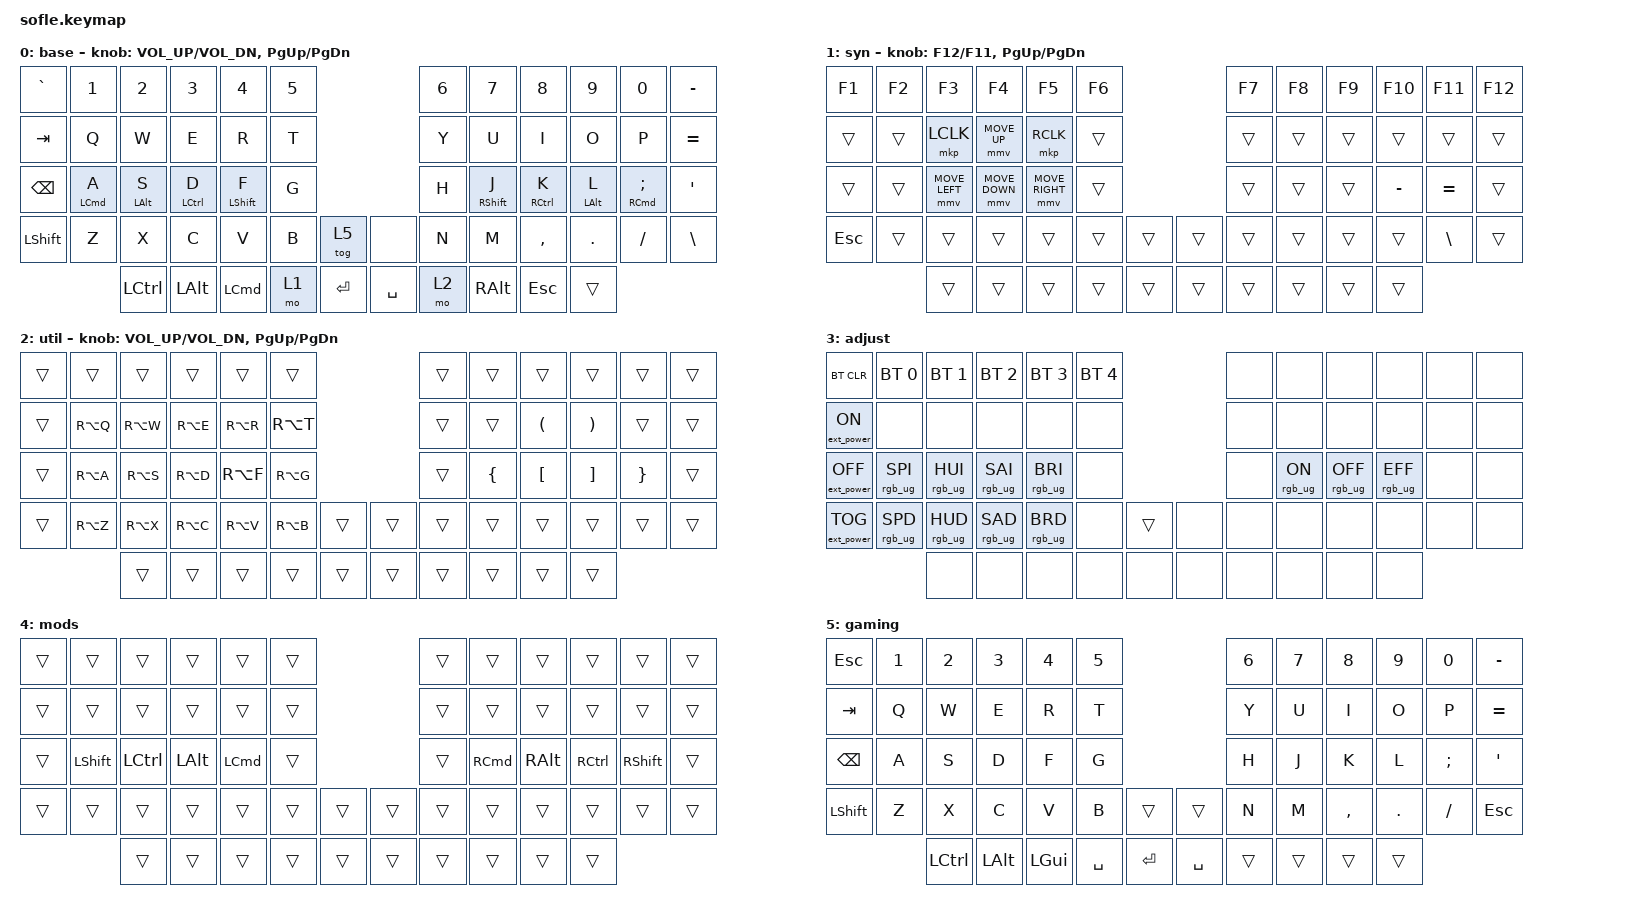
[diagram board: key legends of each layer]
/*
 * Copyright (c) 2020 The ZMK Contributors
 *
 * SPDX-License-Identifier: MIT
 */

#include <behaviors.dtsi>
#include <dt-bindings/zmk/bt.h>
#include <dt-bindings/zmk/ext_power.h>
#include <dt-bindings/zmk/keys.h>
#include <dt-bindings/zmk/pointing.h>
#include <dt-bindings/zmk/rgb.h>

#define BASE 0
#define LOWER 1
#define RAISE 2
#define ADJUST 3

&mt {
    flavor = "tap-preferred";
    require-prior-idle-ms = <100>;
    quick-tap-ms = <200>;
    tapping-term-ms = <150>;
};

/ {
    // Activate ADJUST layer by pressing raise and lower

    conditional_layers {
        compatible = "zmk,conditional-layers";

        adjust_layer {
            if-layers = <1 2>;
            then-layer = <3>;
        };
    };

    combos {
        compatible = "zmk,combos";

        jk_to_esc {
            bindings = <&kp ESCAPE>;
            key-positions = <31 32>;
            require-prior-idle-ms = <0>;
            layers = <0>;
            timeout-ms = <25>;
        };
    };

    keymap {
        compatible = "zmk,keymap";

        base {
            display-name = "base";

            // ------------------------------------------------------------------------------------------------------------
            // |   `   |  1  |  2  |  3   |  4   |  5   |                   |  6   |  7    |  8    |  9   |   0   |       |
            // |  ESC  |  Q  |  W  |  E   |  R   |  T   |                   |  Y   |  U    |  I    |  O   |   P   | BKSPC |
            // |  TAB  |  A  |  S  |  D   |  F   |  G   |                   |  H   |  J    |  K    |  L   |   ;   |   '   |
            // | SHIFT |  Z  |  X  |  C   |  V   |  B   |  MUTE  |  |       |  N   |  M    |  ,    |  .   |   /   | SHIFT |
            //               | GUI | ALT  | CTRL | LOWER|  ENTER |  | SPACE | RAISE| CTRL  | ALT   | GUI  |

            bindings = <
&kp GRAVE      &kp N1              &kp N2          &kp N3              &kp N4            &kp N5                          &kp N6  &kp N7             &kp N8               &kp N9          &kp N0                  &kp MINUS
&kp TAB        &kp Q               &kp W           &kp E               &kp R             &kp T                           &kp Y   &kp U              &kp I                &kp O           &kp P                   &kp EQUAL
&kp BACKSPACE  &mt LEFT_COMMAND A  &mt LEFT_ALT S  &mt LEFT_CONTROL D  &mt LEFT_SHIFT F  &kp G                           &kp H   &mt RIGHT_SHIFT J  &mt RIGHT_CONTROL K  &mt LEFT_ALT L  &mt RIGHT_COMMAND SEMI  &kp SQT
&kp LSHFT      &kp Z               &kp X           &kp C               &kp V             &kp B   &tog 5       &none      &kp N   &kp M              &kp COMMA            &kp DOT         &kp FSLH                &kp BACKSLASH
                                   &kp LCTRL       &kp LALT            &kp LEFT_COMMAND  &mo 1   &kp ENTER    &kp SPACE  &mo 2   &kp RIGHT_ALT      &kp ESCAPE           &trans
            >;

            sensor-bindings = <&inc_dec_kp C_VOL_UP C_VOL_DN &inc_dec_kp PG_UP PG_DN>;
        };

        sym {
            display-name = "syn";

            // TODO: Some binds are waiting for shifted keycode support.
            // ------------------------------------------------------------------------------------------------------------
            // |       |  F1 |  F2 |  F3  |  F4  |  F5  |                   |  F6  |  F7   |  F8   |  F9  |  F10  |  F11  |
            // |   `   |  1  |  2  |  3   |  4   |  5   |                   |  6   |  7    |  8    |  9   |   0   |  F12  |
            // |       |  !  |  @  |  #   |  $   |  %   |                   |  ^   |  &    |  *    |  (   |   )   |   |   |
            // |       |  =  |  -  |  +   |  {   |  }   |        |  |       |  [   |  ]    |  ;    |  :   |   \   |       |
            //               |     |      |      |      |        |  |       |      |       |       |      |

            bindings = <
&kp F1      &kp F2  &kp F3          &kp F4          &kp F5           &kp F6                    &kp F7  &kp F8  &kp F9  &kp F10    &kp F11    &kp F12
&trans      &trans  &mkp LCLK       &mmv MOVE_UP    &mkp RCLK        &trans                    &trans  &trans  &trans  &trans     &trans     &trans
&trans      &trans  &mmv MOVE_LEFT  &mmv MOVE_DOWN  &mmv MOVE_RIGHT  &trans                    &trans  &trans  &trans  &kp MINUS  &kp EQUAL  &trans
&kp ESCAPE  &trans  &trans          &trans          &trans           &trans  &trans    &trans  &trans  &trans  &trans  &trans     &kp BSLH   &trans
                    &trans          &trans          &trans           &trans  &trans    &trans  &trans  &trans  &trans  &trans
            >;

            sensor-bindings = <&inc_dec_kp F12 F11>, <&inc_dec_kp PG_UP PG_DN>;
        };

        util {
            display-name = "util";

            // ------------------------------------------------------------------------------------------------------------
            // | BTCLR | BT1  | BT2  |  BT3  |  BT4  |  BT5 |                |      |      |       |      |       |       |
            // |       | INS  | PSCR | GUI   |       |      |                | PGUP |      |   ^   |      |       |       |
            // |       | ALT  | CTRL | SHIFT |       | CAPS |                | PGDN |   <- |   v   |  ->  |  DEL  | BKSPC |
            // |       | UNDO | CUT  | COPY  | PASTE |      |      |  |      |      |      |       |      |       |       |
            //                |      |       |       |      |      |  |      |      |      |       |      |

            bindings = <
&trans  &trans     &trans     &trans     &trans     &trans                       &trans  &trans          &trans                &trans                 &trans           &trans
&trans  &kp RA(Q)  &kp RA(W)  &kp RA(E)  &kp RA(R)  &kp RA(T)                    &trans  &trans          &kp LEFT_PARENTHESIS  &kp RIGHT_PARENTHESIS  &trans           &trans
&trans  &kp RA(A)  &kp RA(S)  &kp RA(D)  &kp RA(F)  &kp RA(G)                    &trans  &kp LEFT_BRACE  &kp LBKT              &kp RBKT               &kp RIGHT_BRACE  &trans
&trans  &kp RA(Z)  &kp RA(X)  &kp RA(C)  &kp RA(V)  &kp RA(B)  &trans    &trans  &trans  &trans          &trans                &trans                 &trans           &trans
                   &trans     &trans     &trans     &trans     &trans    &trans  &trans  &trans          &trans                &trans
            >;

            sensor-bindings = <&inc_dec_kp C_VOL_UP C_VOL_DN &inc_dec_kp PG_UP PG_DN>;
        };

        adjust_layer {
            // ----------------------------------------------------------------------------------------------------------------------------
            // | BTCLR  |  BT1    |  BT2    |   BT3   |   BT4   |   BT5   |                  |      |      |       |      |       |       |
            // | EXTPWR | RGB_HUD | RGB_HUI | RGB_SAD | RGB_SAI | RGB_EFF |                  |      |      |       |      |       |       |
            // |        | RGB_BRD | RGB_BRI |         |         |         |                  |      |      |       |      |       |       |
            // |        |         |         |         |         |         | RGB_TOG | |      |      |      |       |      |       |       |
            //                    |         |         |         |         |         | |      |      |      |       |      |

            display-name = "adjust";
            bindings = <
&bt BT_CLR         &bt BT_SEL 0     &bt BT_SEL 1     &bt BT_SEL 2     &bt BT_SEL 3     &bt BT_SEL 4                   &none  &none           &none            &none            &none  &none
&ext_power EP_ON   &none            &none            &none            &none            &none                          &none  &none           &none            &none            &none  &none
&ext_power EP_OFF  &rgb_ug RGB_SPI  &rgb_ug RGB_HUI  &rgb_ug RGB_SAI  &rgb_ug RGB_BRI  &none                          &none  &rgb_ug RGB_ON  &rgb_ug RGB_OFF  &rgb_ug RGB_EFF  &none  &none
&ext_power EP_TOG  &rgb_ug RGB_SPD  &rgb_ug RGB_HUD  &rgb_ug RGB_SAD  &rgb_ug RGB_BRD  &none         &trans    &none  &none  &none           &none            &none            &none  &none
                                    &none            &none            &none            &none         &none     &none  &none  &none           &none            &none
            >;
        };

        mods {
            bindings = <
&trans  &trans          &trans            &trans        &trans            &trans                    &trans  &trans             &trans         &trans             &trans           &trans
&trans  &trans          &trans            &trans        &trans            &trans                    &trans  &trans             &trans         &trans             &trans           &trans
&trans  &kp LEFT_SHIFT  &kp LEFT_CONTROL  &kp LEFT_ALT  &kp LEFT_COMMAND  &trans                    &trans  &kp RIGHT_COMMAND  &kp RIGHT_ALT  &kp RIGHT_CONTROL  &kp RIGHT_SHIFT  &trans
&trans  &trans          &trans            &trans        &trans            &trans  &trans    &trans  &trans  &trans             &trans         &trans             &trans           &trans
                        &trans            &trans        &trans            &trans  &trans    &trans  &trans  &trans             &trans         &trans
            >;
        };

        gaming {
            bindings = <
&kp ESCAPE     &kp N1  &kp N2     &kp N3    &kp N4    &kp N5                           &kp N6  &kp N7  &kp N8     &kp N9   &kp N0    &kp MINUS
&kp TAB        &kp Q   &kp W      &kp E     &kp R     &kp T                            &kp Y   &kp U   &kp I      &kp O    &kp P     &kp EQUAL
&kp BACKSPACE  &kp A   &kp S      &kp D     &kp F     &kp G                            &kp H   &kp J   &kp K      &kp L    &kp SEMI  &kp SQT
&kp LSHFT      &kp Z   &kp X      &kp C     &kp V     &kp B      &trans     &trans     &kp N   &kp M   &kp COMMA  &kp DOT  &kp FSLH  &kp ESC
                       &kp LCTRL  &kp LALT  &kp LGUI  &kp SPACE  &kp RET    &kp SPACE  &trans  &trans  &trans     &trans
            >;
        };
    };
};
